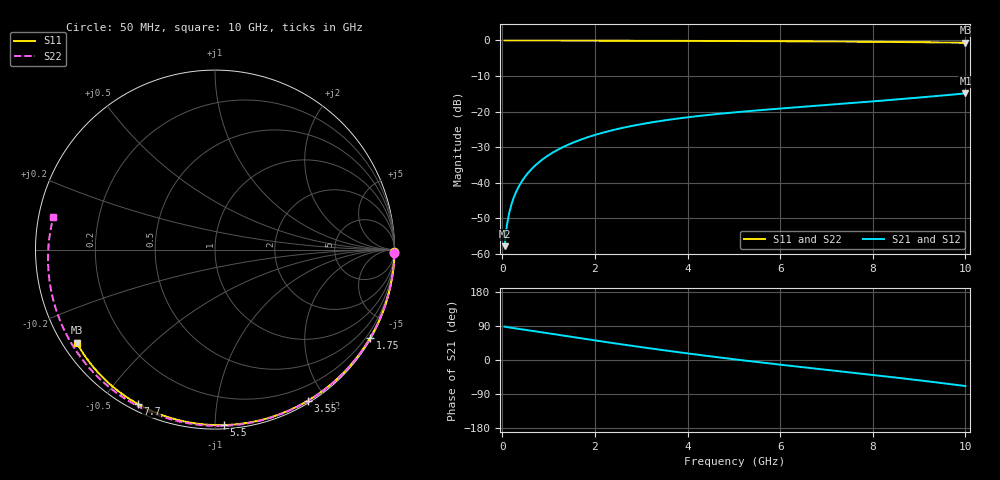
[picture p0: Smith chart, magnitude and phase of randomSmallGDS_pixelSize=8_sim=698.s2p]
! freq	dB(S11)	phase(S11)	dB(S12)	phase(S12)
!  dB(S21)	phase(S21)	dB(S22)	phase(S22)
!S-par simulation data
#  GHz  S  DB  R 50
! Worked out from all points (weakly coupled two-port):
!   200 points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, 50 MHz to 10 GHz, reference 50 ohm
!   highest |S21| = -14.88 dB at 10 GHz (marker M1); lowest = -57.8 dB at 50 MHz (marker M2)
!   lowest |S11| = -0.6 dB at 10 GHz (marker M3), VSWR 27.08, Z = 2.02 - j15.3 ohm
!   |S11| at or under -10 dB: nowhere
!   |S22| runs from -0.7 to 0.0 dB; largest |S21 - S12| = 0
!   S11 on the Smith chart (normalised r, x): 50 MHz: open; 1.75 GHz: 0.04, -3.79; 3.55 GHz: 0.02, -1.79; 5.5 GHz: 0.02, -1.05; 7.7 GHz: 0.03, -0.62; 10 GHz: 0.04, -0.31
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0.05  -0.00 -0.9  -57.79 88.3  -57.79 88.3  -0.00 -1.1
0.1  -0.00 -1.7  -51.85 86.9  -51.85 86.9  -0.00 -2.2
0.15  -0.00 -2.6  -48.41 85.8  -48.41 85.8  -0.00 -3.3
0.2  -0.00 -3.4  -45.96 84.9  -45.96 84.9  -0.00 -4.4
0.25  -0.00 -4.3  -44.06 84.0  -44.06 84.0  -0.00 -5.5
0.35  -0.00 -6.0  -41.19 82.3  -41.19 82.3  -0.01 -7.7
0.5  -0.01 -8.6  -38.13 79.6  -38.13 79.6  -0.01 -10.9
0.7  -0.01 -12.0  -35.25 75.9  -35.25 75.9  -0.02 -15.3
1  -0.02 -17.1  -32.22 70.3  -32.22 70.3  -0.03 -21.7
1.35  -0.03 -22.9  -29.72 63.7  -29.72 63.7  -0.04 -29.2
1.75  -0.04 -29.6  -27.60 56.3  -27.60 56.3  -0.05 -37.6
2.6  -0.07 -43.4  -24.55 40.9  -24.55 40.9  -0.08 -55.1
3.4  -0.10 -56.1  -22.65 27.2  -22.65 27.2  -0.12 -70.9
3.55  -0.10 -58.4  -22.36 24.7  -22.36 24.7  -0.12 -73.8
4.3  -0.13 -69.7  -21.13 12.7  -21.13 12.7  -0.15 -88.0
5.05  -0.16 -80.7  -20.16 1.3  -20.16 1.3  -0.19 -101.7
5.5  -0.18 -87.1  -19.65 -5.3  -19.65 -5.3  -0.22 -109.7
6.7  -0.26 -103.5  -18.43 -21.9  -18.43 -21.9  -0.31 -130.7
7.7  -0.34 -116.7  -17.43 -35.4  -17.43 -35.4  -0.40 -148.2
8.35  -0.41 -125.0  -16.75 -44.3  -16.75 -44.3  -0.48 -159.8
9.2  -0.51 -135.8  -15.81 -56.5  -15.81 -56.5  -0.60 -175.5
10  -0.64 -146.0  -14.88 -68.7  -14.88 -68.7  -0.74 168.6
